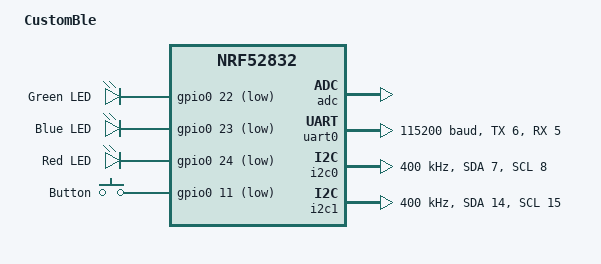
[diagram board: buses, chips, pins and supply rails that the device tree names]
/*
 * Copyright (c) 2017 Shawn Nock <shawn@monadnock.ca>
 * Copyright (c) 2017 Linaro Limited
 * Copyright (c) 2018 Aapo Vienamo
 *
 * SPDX-License-Identifier: Apache-2.0
 */

/dts-v1/;
#include <nordic/nrf52832_qfaa.dtsi>

/ {
	model = "CustomBle";
	compatible = "nordic,CustomBle";

	chosen {
		zephyr,console = &uart0;
		zephyr,shell-uart = &uart0;
		zephyr,bt-mon-uart = &uart0;
		zephyr,bt-c2h-uart = &uart0;
		zephyr,sram = &sram0;
		zephyr,flash = &flash0;
		zephyr,code-partition = &slot0_partition;
	};

	/* These aliases are provided for compatibility with samples */
	aliases {
		led0 = &led0;
		sw0 = &button0;
	};

	leds {
		compatible = "gpio-leds";
		led0: led_0 {
			gpios = <&gpio0 22 (GPIO_ACTIVE_LOW)>;
			label = "Green LED";
		};
		led1: led_1 {
			gpios = <&gpio0 23 (GPIO_ACTIVE_LOW)>;
			label = "Blue LED";
		};
		led2: led_2 {
			gpios = <&gpio0 24 (GPIO_ACTIVE_LOW)>;
			label = "Red LED";
		};
	};

	buttons {
		compatible = "gpio-keys";
		button0: button_0 {
			/* gpio flags need validation */
			gpios = <&gpio0 11 (GPIO_PULL_UP | GPIO_ACTIVE_LOW)>;
			label = "Button";
		};
	};

};

&adc {
	status = "okay";
};

&gpiote {
	status = "okay";
};

&gpio0 {
	status = "okay";
};

&uart0 {
	compatible = "nordic,nrf-uarte";
	status = "okay";
	current-speed = <115200>;
	tx-pin = <6>;
	rx-pin = <5>;
};

&i2c0 {
	compatible = "nordic,nrf-twim";
	status = "okay";
	clock-frequency = <I2C_BITRATE_FAST>;
	sda-pin = <7>;
	scl-pin = <8>;
};

&i2c1 {
	compatible = "nordic,nrf-twim";
	status = "okay";
	clock-frequency = <I2C_BITRATE_FAST>;
	sda-pin = <14>;
	scl-pin = <15>;

};

&flash0 {
	partitions {
		compatible = "fixed-partitions";
		#address-cells = <1>;
		#size-cells = <1>;

		boot_partition: partition@0 {
			label = "mcuboot";
			reg = <0x00000000 0xc000>;
		};
		slot0_partition: partition@c000 {
			label = "image-0";
			reg = <0x0000C000 0x32000>;
		};
		slot1_partition: partition@3e000 {
			label = "image-1";
			reg = <0x0003E000 0x32000>;
		};
		scratch_partition: partition@70000 {
			label = "image-scratch";
			reg = <0x00070000 0xa000>;
		};

		/*
		 * The flash starting at 0x0007a000 and ending at
		 * 0x0007ffff (sectors 122-127) is reserved for use
		 * by the application.
		 * Storage partition will be used by FCB/LittleFS/NVS
		 * if enabled.
		 */
		storage_partition: partition@7a000 {
			label = "storage";
			reg = <0x0007a000 0x00006000>;
		};
	};
};
